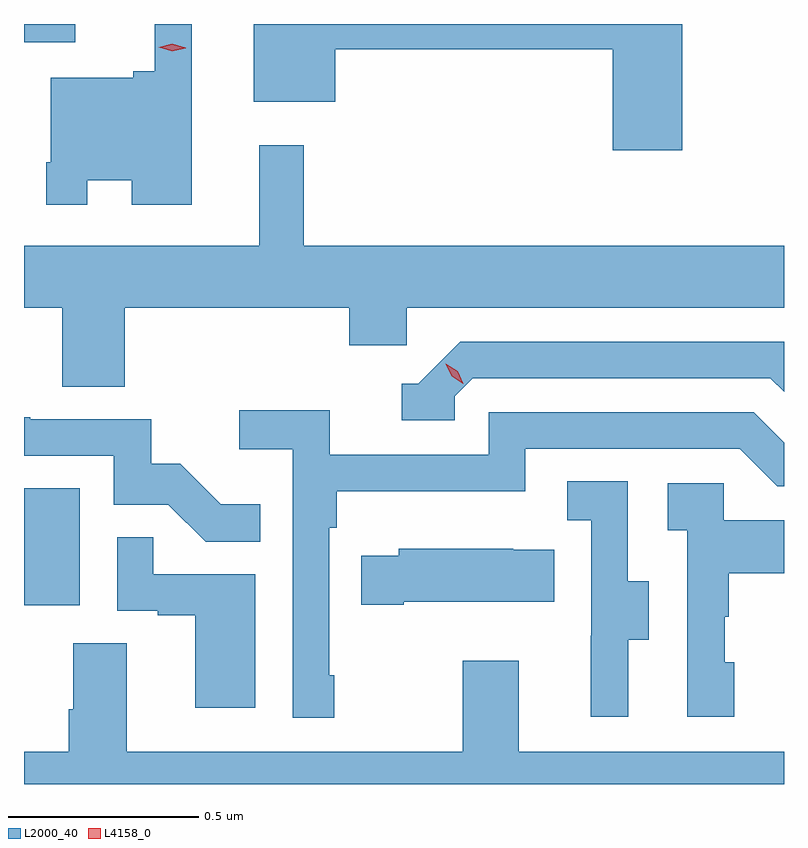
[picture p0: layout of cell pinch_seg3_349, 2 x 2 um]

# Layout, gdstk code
import gdstk
lib = gdstk.Library(unit=1e-6, precision=1e-09)
def R(c, l, rs):  # rectangles x0, y0, x1, y1
    for r in rs: c.add(gdstk.rectangle(r[:2], r[2:], *l))
def P(c, l, *ps):  # polygons
    for p in ps: c.add(gdstk.Polygon(p, *l))
L2000_40 = (2000, 40)
L4158_0 = (4158, 0)

pinch_seg3_349 = lib.new_cell('pinch_seg3_349')
R(pinch_seg3_349, L2000_40, [(956.767,721.446,956.914,721.753), (956.767,722.927,956.902,722.975)])
P(pinch_seg3_349, L2000_40, [(956.934,722.564),(957.05,722.564),(957.05,722.499),(957.208,722.499),(957.208,722.975),(957.111,722.975),(957.111,722.851),(957.054,722.851),(957.054,722.833),(956.838,722.833),(956.838,722.611),(956.826,722.611),(956.826,722.499),(956.934,722.499)],
  [(958.499,722.975),(957.371,722.975),(957.371,722.771),(957.586,722.771),(957.586,722.908),(958.316,722.908),(958.316,722.643),(958.499,722.643)],
  [(957.032,722.228),(957.623,722.228),(957.623,722.13),(957.774,722.13),(957.774,722.228),(958.767,722.228),(958.767,722.392),(957.503,722.392),(957.503,722.656),(957.386,722.656),(957.386,722.392),(956.767,722.392),(956.767,722.228),(956.867,722.228),(956.867,722.02),(957.032,722.02)],
  [(957.9,721.995),(957.948,722.043),(958.731,722.043),(958.767,722.007),(958.767,722.139),(957.915,722.139),(957.804,722.028),(957.761,722.028),(957.761,721.932),(957.9,721.932)],
  [(957.583,721.261),(957.57,721.261),(957.57,721.649),(957.59,721.649),(957.59,721.745),(958.086,721.745),(958.086,721.857),(958.65,721.857),(958.749,721.758),(958.767,721.758),(958.767,721.873),(958.687,721.953),(957.99,721.953),(957.99,721.842),(957.572,721.842),(957.572,721.958),(957.333,721.958),(957.333,721.856),(957.474,721.856),(957.474,721.149),(957.583,721.149)],
  [(957.389,721.711),(957.285,721.711),(957.178,721.818),(957.102,721.818),(957.102,721.935),(956.783,721.935),(956.783,721.94),(956.767,721.94),(956.767,721.839),(957.003,721.839),(957.003,721.71),(957.147,721.71),(957.245,721.612),(957.389,721.612)],
  [(958.357,721.354),(958.411,721.354),(958.411,721.509),(958.356,721.509),(958.356,721.772),(958.197,721.772),(958.197,721.669),(958.26,721.669),(958.26,721.365),(958.259,721.365),(958.259,721.152),(958.357,721.152)],
  [(958.636,721.296),(958.611,721.296),(958.611,721.415),(958.621,721.415),(958.621,721.529),(958.767,721.529),(958.767,721.669),(958.608,721.669),(958.608,721.767),(958.461,721.767),(958.461,721.643),(958.512,721.643),(958.512,721.152),(958.636,721.152)],
  [(957.376,721.527),(957.107,721.527),(957.107,721.625),(957.012,721.625),(957.012,721.431),(957.119,721.431),(957.119,721.419),(957.218,721.419),(957.218,721.176),(957.376,721.176)],
  [(957.766,721.454),(958.163,721.454),(958.163,721.591),(958.055,721.591),(958.055,721.594),(957.753,721.594),(957.753,721.576),(957.655,721.576),(957.655,721.447),(957.766,721.447)],
  [(958.767,721.06),(958.069,721.06),(958.069,721.3),(957.922,721.3),(957.922,721.06),(957.037,721.06),(957.037,721.346),(956.897,721.346),(956.897,721.172),(956.885,721.172),(956.885,721.06),(956.767,721.06),(956.767,720.975),(958.767,720.975)])
P(pinch_seg3_349, L4158_0, [(957.157,722.903),(957.122,722.914),(957.122,722.914),(957.122,722.914),(957.157,722.923),(957.192,722.912),(957.193,722.912),(957.192,722.911)],
  [(957.923,722.028),(957.893,722.048),(957.877,722.081),(957.877,722.081),(957.877,722.081),(957.908,722.061),(957.923,722.028),(957.923,722.028)])

lib.write_gds('pinch_seg3_349.gds')
